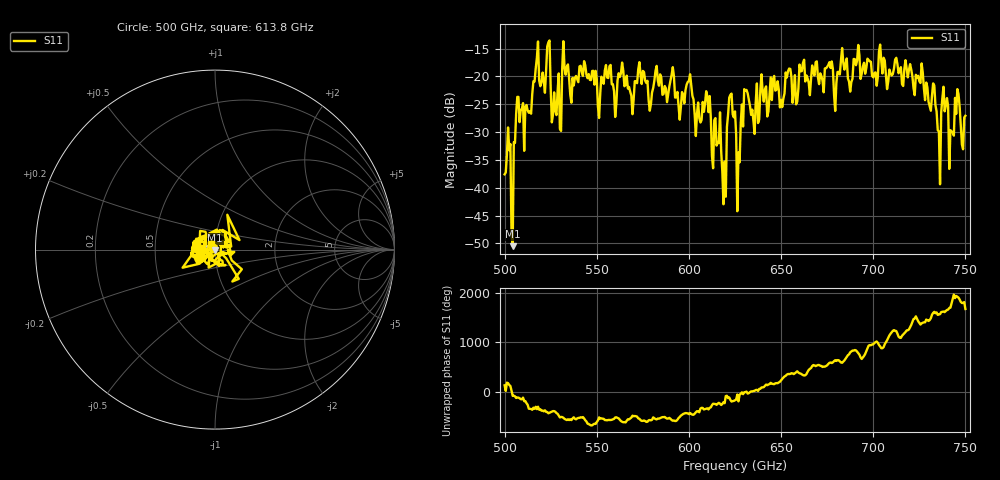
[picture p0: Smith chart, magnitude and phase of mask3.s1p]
!Created with skrf (http://scikit-rf.org).
# GHz S MA R 50.0
!freq magS11 angS11
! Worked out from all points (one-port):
!   401 points, 500 GHz to 750 GHz, reference 50 ohm
!   lowest |S11| = -50.5 dB at 504.4 GHz (marker M1), VSWR 1.01, Z = 50.1 - j0.285 ohm
!   |S11| at or under -10 dB: start of sweep to end of sweep
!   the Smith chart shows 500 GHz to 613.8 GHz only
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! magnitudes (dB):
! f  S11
! 500 GHz  -37.6
! 501.9 GHz  -29.2
! 504.4 GHz  -50.5
! 506.2 GHz  -26.8
! 513.8 GHz  -26.2
! 516.9 GHz  -18.6
! 523.8 GHz  -13.9
! 526.9 GHz  -22.9
! 531.2 GHz  -18.6
! 533.1 GHz  -19.7
! 562.5 GHz  -20.1
! 593.8 GHz  -22.8
! 610 GHz  -23.6
! 618.8 GHz  -43.0
! 621.9 GHz  -23.8
! 625 GHz  -26.3
! 626.9 GHz  -33.7
! 631.2 GHz  -22.4
! 634.4 GHz  -26.0
! 656.2 GHz  -24.7
! 687.5 GHz  -22.7
! 718.8 GHz  -20.2
! 733.1 GHz  -21.6
! 735.6 GHz  -29.9
! 738.8 GHz  -26.3
! 742.5 GHz  -29.9
! 745.6 GHz  -22.3
! 750 GHz  -27.1
